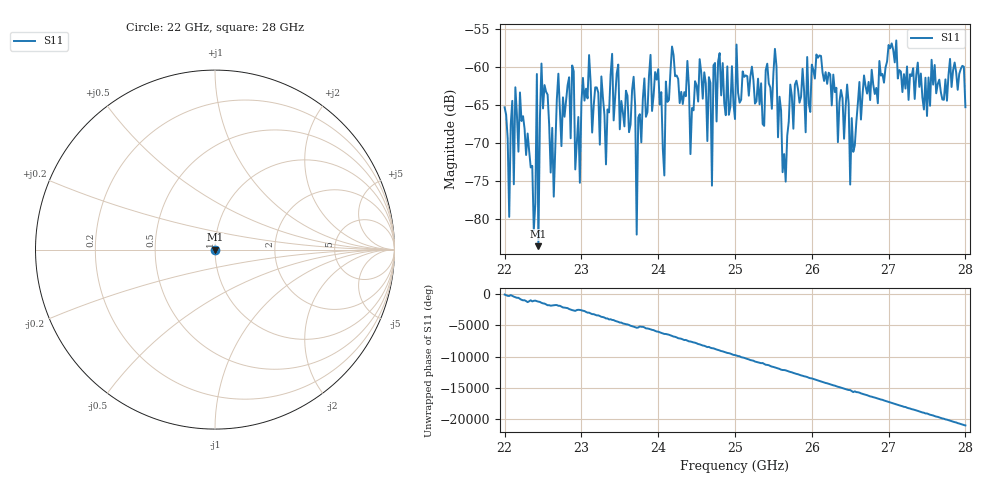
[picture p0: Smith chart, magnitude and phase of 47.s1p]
#  HZ  S  RI  R  50.00
! Rohde & Schwarz ZVA40 4Ports - Version 3.90 - 1145.1110k42 SN: 100403
! Date: 2023-10-04 11:27:18
! Measurement: S12
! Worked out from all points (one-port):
!   301 points, 22 GHz to 28 GHz, reference 50 ohm
!   lowest |S11| = -83.6 dB at 22.44 GHz (marker M1), VSWR 1.00, Z = 50 - j0.00499 ohm
!   |S11| at or under -10 dB: start of sweep to end of sweep
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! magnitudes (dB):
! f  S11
! 22 GHz  -65.3
! 22.06 GHz  -79.7
! 22.14 GHz  -62.6
! 22.38 GHz  -81.5
! 22.42 GHz  -60.9
! 22.44 GHz  -83.6
! 22.48 GHz  -59.5
! 22.64 GHz  -77.1
! 22.76 GHz  -64.0
! 23.5 GHz  -68.2
! 23.68 GHz  -61.2
! 23.72 GHz  -82.1
! 23.74 GHz  -66.6
! 23.9 GHz  -58.4
! 24.08 GHz  -74.3
! 24.1 GHz  -61.9
! 24.26 GHz  -61.5
! 24.66 GHz  -61.3
! 24.7 GHz  -75.6
! 24.72 GHz  -59.7
! 25 GHz  -66.8
! 25.76 GHz  -68.1
! 26.12 GHz  -58.5
! 26.46 GHz  -62.3
! 26.5 GHz  -75.5
! 26.62 GHz  -61.9
! 27.26 GHz  -64.3
! 28 GHz  -65.3
